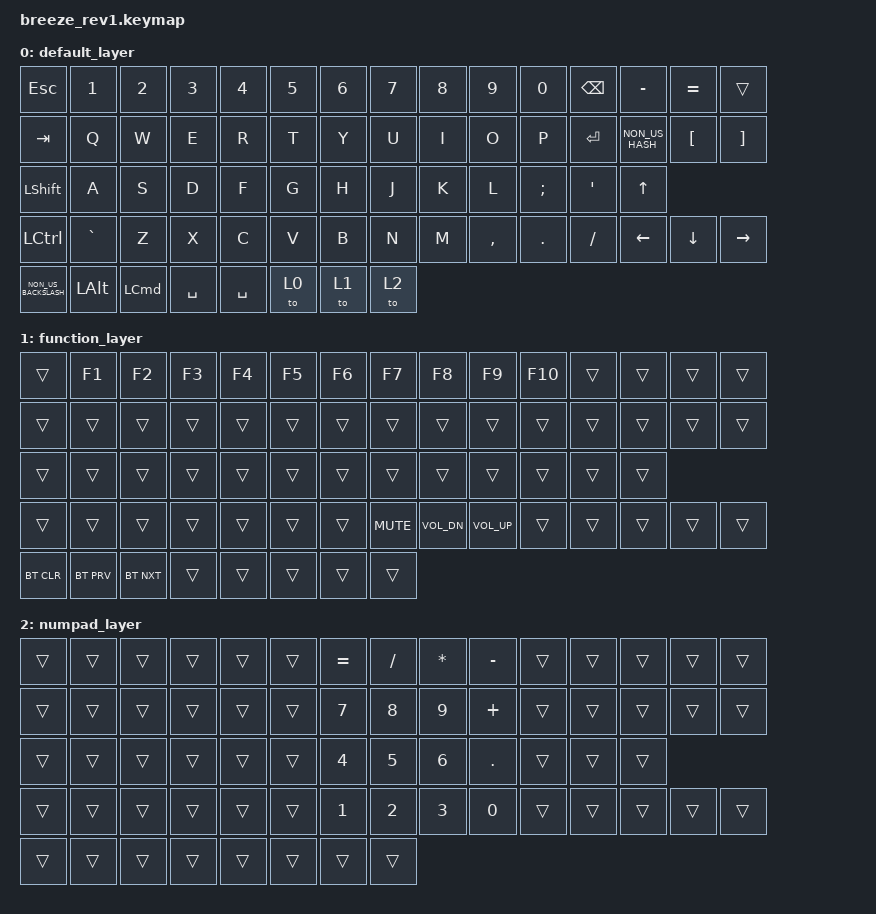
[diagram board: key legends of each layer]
/*
 * Copyright (c) 2022 The ZMK Contributors
 *
 * SPDX-License-Identifier: MIT
 */

#include <behaviors.dtsi>
#include <dt-bindings/zmk/bt.h>
#include <dt-bindings/zmk/keys.h>

/ {
    keymap {
        compatible = "zmk,keymap";

        default_layer {
            // Ref: https://zmkfirmware.dev/docs/codes/
            // ---  MAIN  -----------------------------------------------------------------------------------------------------------------------
            // |    ESC    |     1     |     2     |     3      |      4      |      5     |                           |      6      |      7     |      8      |      9     |     0    |    BSPC    | |    -/_    |     =/+     |    GRAVE    |
            // |    TAB    |     Q     |     W     |     E      |      R      |      T     |                           |      Y      |      U     |      I      |      O     |     P    |    DEL     | |     \     |      [      |      ]      |
            // |   LCTRL   |     A     |     S     |     D      |      F      |      G     |                           |      H      |      J     |      K      |      L     |     ;    |     '      | |           |      UP     |             |
            // |   SHIFT   |     Z     |     X     |     C      |      V      |      B     |                           |      N      |      M     |      ,      |      .     |     /    |   RSHIFT   | |     L     |      DN     |      R      |
            //                                     |   NUMPAD   |     LALT    |    LCMD    |   SPACE    |  |   ENTER   |   FUNCTION  |  MACOS APP |  MACOS LANG |

            bindings = <
&kp ESC               &kp N1     &kp N2    &kp N3     &kp N4     &kp N5  &kp N6  &kp N7  &kp N8  &kp N9     &kp N0    &kp BSPC   &kp MINUS        &kp EQUAL  &trans
&kp TAB               &kp Q      &kp W     &kp E      &kp R      &kp T   &kp Y   &kp U   &kp I   &kp O      &kp P     &kp ENTER  &kp NON_US_HASH  &kp LBKT   &kp RBKT
&kp LEFT_SHIFT        &kp A      &kp S     &kp D      &kp F      &kp G   &kp H   &kp J   &kp K   &kp L      &kp SEMI  &kp APOS   &kp UP
&kp LCTRL             &kp GRAVE  &kp Z     &kp X      &kp C      &kp V   &kp B   &kp N   &kp M   &kp COMMA  &kp DOT   &kp SLASH  &kp LEFT         &kp DOWN   &kp RIGHT
&kp NON_US_BACKSLASH  &kp LALT   &kp LCMD  &kp SPACE  &kp SPACE  &to 0   &to 1   &to 2
            >;
        };

        function_layer {
            // ---  FUNCTION  -------------------------------------------------------------------------------------------------------------------
            // | BT Clear  |  BT Prev  |  BT Next  |            |             |            |                           |             |            |             |            |          |            | |           |             |             |
            // |           |           |           |            |             |            |                           |             |            |     UP      |            |          |            | |           |             |             |
            // |           |           |           |            |             |            |                           |             |    LEFT    |    DOWN     |   RIGHT    |          |            | |           |             |             |
            // |           |           |           |            |             |            |                           |             |    MUTE    |  VOL DOWN   |   VOL UP   |          |            | |           |             |             |
            //                                     |            |             |            |            |  |           |             |            |             |

            bindings = <
&trans      &kp F1      &kp F2      &kp F3  &kp F4  &kp F5  &kp F6  &kp F7      &kp F8        &kp F9        &kp F10  &trans  &trans  &trans  &trans
&trans      &trans      &trans      &trans  &trans  &trans  &trans  &trans      &trans        &trans        &trans   &trans  &trans  &trans  &trans
&trans      &trans      &trans      &trans  &trans  &trans  &trans  &trans      &trans        &trans        &trans   &trans  &trans
&trans      &trans      &trans      &trans  &trans  &trans  &trans  &kp C_MUTE  &kp C_VOL_DN  &kp C_VOL_UP  &trans   &trans  &trans  &trans  &trans
&bt BT_CLR  &bt BT_PRV  &bt BT_NXT  &trans  &trans  &trans  &trans  &trans
            >;
        };

        numpad_layer {
            // ---  NUMPAD  -------------------------------------------------------------------------------------------------------------------
            // |           |           |           |            |             |            |                           |       =       |      /       |      *       |      -     |          |            | |           |             |             |
            // |           |           |           |            |             |            |                           |       7       |      8       |      9       |      +     |          |            | |           |             |             |
            // |           |           |           |            |             |            |                           |       4       |      5       |      6       |            |          |            | |           |             |             |
            // |           |           |           |            |             |            |                           |       1       |      2       |      3       |            |          |            | |           |             |             |
            //                                     |            |             |            |            |  |           |       0       |      .       |              |

            bindings = <
&trans  &trans  &trans  &trans  &trans  &trans  &kp EQUAL     &kp SLASH     &kp STAR      &kp MINUS   &trans  &trans  &trans  &trans  &trans
&trans  &trans  &trans  &trans  &trans  &trans  &kp N7        &kp N8        &kp N9        &kp PLUS    &trans  &trans  &trans  &trans  &trans
&trans  &trans  &trans  &trans  &trans  &trans  &kp NUMBER_4  &kp N5        &kp NUMBER_6  &kp PERIOD  &trans  &trans  &trans
&trans  &trans  &trans  &trans  &trans  &trans  &kp NUMBER_1  &kp NUMBER_2  &kp NUMBER_3  &kp N0      &trans  &trans  &trans  &trans  &trans
&trans  &trans  &trans  &trans  &trans  &trans  &trans        &trans
            >;
        };
    };
};
